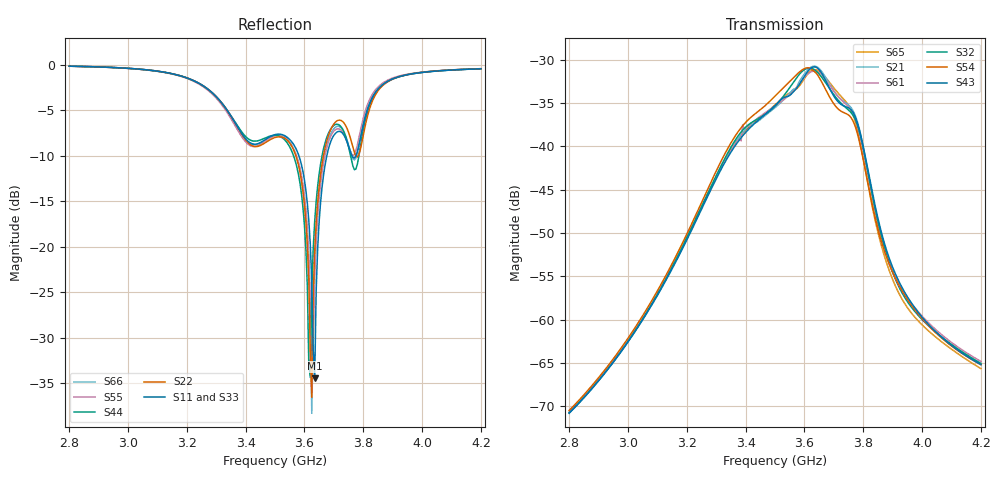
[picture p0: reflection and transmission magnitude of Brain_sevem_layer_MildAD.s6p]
! Touchstone file exported from HFSS 2024.2.0
!  File:  F:/Jatin/Brain_sevem_layer.aedt
!  Generated:  09:19:10 PM Sep 25, 2026
!  Design:  MildAD
!  Project:  Brain_sevem_layer
!  Setup:  Setup1
!  Solution:  Sweep
! Variables:
!  $L = 85mm
!  $W = 35mm
!  H = 1.575mm
!  L = 42mm
!  W = 35mm
!  Wb = 6mm
!  a = 3.5mm
!  ant_dist = 115mm
!  ant_gap = 3mm
!  b = 5mm
!  c = 5mm
!  d = 2mm
!  g1 = 2mm
!  g2 = 2mm
!  g3 = 1mm
!  g4 = 2mm
!  gap = 10mm
!  r1 = 3.5mm
!  r2 = 6mm
!  r_brain = 95mm
!  r_brain_ad = 61.68mm
!  r_csf = 95.5mm
!  r_csf_expanded = 64.6mm
!  r_csf_inner = 61.68mm
!  r_csf_outer = 83.5mm
!  r_fat = 87.5mm
!  r_gray = 70.55mm
!  r_skin = 88mm
!  r_skull = 86.5mm
!  r_white = 17.5mm
!  slot_distance = 15mm
!  wc = 12mm
!  y1 = 15mm
!  y2 = 5mm
!  y4 = 11mm
!  z_ebg = -94.575mm
! Terminal data exported
! Port[1] = FEED_3_T4
! Port[2] = FEED_3_T3
! Port[3] = FEED_3_T2
! Port[4] = FEED_3_T1
! Port[5] = FEED_3_T6
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# GHz S MA R 50.000000
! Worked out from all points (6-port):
!   281 points, 2.8 GHz to 4.2 GHz, reference 50 ohm
!   strongest paths, dB at 2.8 GHz, 3.15 GHz, 3.5 GHz, 3.85 GHz, 4.2 GHz:
!     S43: -70.8, -54.1, -35.3, -48.3, -65.2
!     S54: -70.5, -53.5, -34.2, -49.5, -65.2
!     S32: -70.8, -53.9, -35.3, -48.6, -65.1
!     S61: -70.7, -54.0, -35.3, -48.8, -64.8
!     S21: -70.7, -54.0, -35.5, -48.9, -65.0
!     S65: -70.7, -53.9, -35.2, -49.9, -65.6
!   lowest |S11| = -34.5 dB at 3.635 GHz (marker M1), VSWR 1.04, Z = 51.7 - j0.906 ohm
!   |S11| at or under -10 dB: 3.581 GHz to 3.676 GHz (95.34 MHz wide, 2.63 % of centre); 3.761997 GHz to 3.775483 GHz (13.49 MHz wide, 0.358 % of centre)
